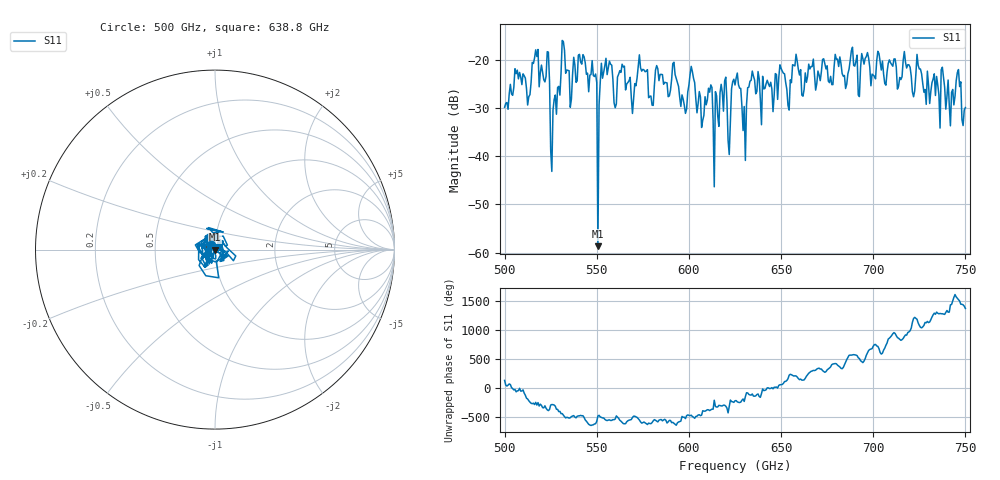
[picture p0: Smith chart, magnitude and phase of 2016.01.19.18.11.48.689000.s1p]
!Created with skrf (http://scikit-rf.org).
# GHz S RI R 50.0
!freq ReS11 ImS11
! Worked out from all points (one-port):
!   401 points, 500 GHz to 750 GHz, reference 50 ohm
!   lowest |S11| = -58.7 dB at 550.6 GHz (marker M1), VSWR 1.00, Z = 49.9 - j0.0974 ohm
!   |S11| at or under -10 dB: start of sweep to end of sweep
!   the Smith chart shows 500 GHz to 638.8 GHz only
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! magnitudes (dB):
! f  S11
! 500 GHz  -29.8
! 506.9 GHz  -22.2
! 513.1 GHz  -27.7
! 516.9 GHz  -18.0
! 523.1 GHz  -18.3
! 526.2 GHz  -30.5
! 531.2 GHz  -16.0
! 548.8 GHz  -23.5
! 550.6 GHz  -58.7
! 553.8 GHz  -22.6
! 560 GHz  -30.0
! 562.5 GHz  -22.3
! 593.8 GHz  -24.8
! 601.9 GHz  -22.5
! 608.1 GHz  -31.5
! 611.2 GHz  -26.7
! 615 GHz  -27.4
! 618.8 GHz  -30.7
! 621.9 GHz  -39.7
! 625 GHz  -25.2
! 630 GHz  -29.7
! 634.4 GHz  -22.4
! 656.2 GHz  -21.0
! 687.5 GHz  -20.2
! 718.8 GHz  -21.0
! 740.6 GHz  -24.2
! 746.2 GHz  -22.0
! 750 GHz  -29.9
